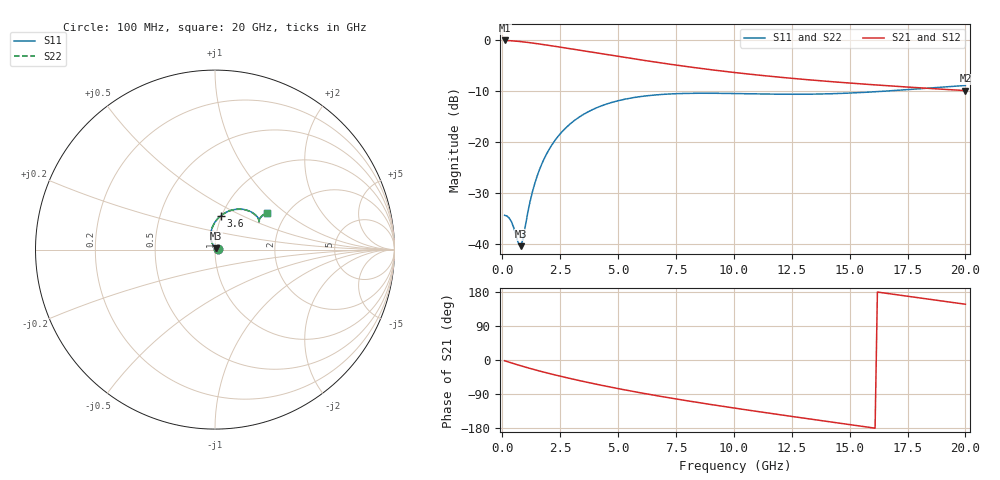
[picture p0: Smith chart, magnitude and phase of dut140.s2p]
! Touchstone file exported from HFSS 2024.1.0
!  File:  C:/UserFiles/LocalFiles/RDL_TSV_Batchsim/temp_RDL_TSV_140_1779429509.aedt
!  Generated:  02:12:34 PM May 22, 2026
!  Design:  RDL_TSV
!  Project:  temp_RDL_TSV_140_1779429509
!  Setup:  Setup1
!  Solution:  Sweep
! Variables:
!  dtsv = 13.42um
!  hbump = 3um
!  htsv = 64.69um
!  ldown = 489.67um
!  lrdl = 398.42um
!  p = 40
!  p1 = 55.69um
!  rhole = 10um
!  subl = 3062.69um
!  t = 450um
!  tdown = 2.31um
!  trdl = 2.8um
!  viad = 10um
!  wdown = 27.31um
!  wrdl = 18.94um
!  xbump = 18um
# GHz S MA R 50.000000
! Terminal data exported
! Port[1] = TM1_1_T1
! Port[2] = TM1_4_T1
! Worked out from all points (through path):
!   200 points, 100 MHz to 20 GHz, reference 50 ohm
!   highest |S21| = -0.17 dB at 100 MHz (marker M1); lowest = -10.0 dB at 20 GHz (marker M2)
!   group delay of S21, straight-line fit = 27.7 ps
!   lowest |S11| = -40.5 dB at 800 MHz (marker M3), VSWR 1.02, Z = 50.5 + j0.831 ohm
!   |S11| at or under -10 dB: start of sweep to 16.88 GHz
!   |S22| runs from -40.5 to -9.0 dB; largest |S21 - S12| = 9.8e-15
!   S11 on the Smith chart (normalised r, x): 100 MHz: 1.04, +0.00; 3.6 GHz: 0.99, +0.39; 20 GHz: 1.61, +0.75
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0.1  0.01898 2.4  0.9803 -2.0  0.9803 -2.0  0.01898 2.4
! Gamma 0 0 0 0
! Port Impedance 50 0 50 0
0.3  0.01785 5.3  0.976 -5.9  0.976 -5.9  0.01785 5.3
0.4  0.01633 7.4  0.9728 -7.8  0.9728 -7.8  0.01633 7.4
0.7  0.009979 35.9  0.9602 -13.4  0.9602 -13.4  0.009996 35.8
0.8  0.009462 60.5  0.9552 -15.3  0.9552 -15.3  0.009469 60.2
0.9  0.0113 84.5  0.9498 -17.1  0.9498 -17.1  0.01129 84.2
1.1  0.02013 107.7  0.9381 -20.6  0.9381 -20.6  0.02008 107.5
1.3  0.03214 113.3  0.9255 -24.0  0.9255 -24.0  0.03204 113.2
1.5  0.04564 113.4  0.9122 -27.3  0.9122 -27.3  0.04552 113.3
1.8  0.06736 110.0  0.8917 -32.1  0.8917 -32.1  0.06718 110.0
2.1  0.08975 105.2  0.8709 -36.8  0.8709 -36.8  0.08951 105.2
2.5  0.1192 98.3  0.8433 -42.7  0.8433 -42.7  0.1189 98.2
3  0.1538 89.8  0.8096 -49.8  0.8096 -49.8  0.1534 89.8
3.5  0.1846 82.1  0.7769 -56.6  0.7769 -56.6  0.1841 82.0
3.6  0.1903 80.6  0.7705 -57.9  0.7705 -57.9  0.1898 80.5
5  0.2516 63.0  0.6857 -75.4  0.6857 -75.4  0.2508 63.0
6.8  0.2891 47.5  0.5931 -95.5  0.5931 -95.5  0.288 47.5
8.4  0.2979 38.9  0.5278 -111.6  0.5278 -111.6  0.2967 38.9
10.1  0.2959 33.9  0.4736 -127.6  0.4736 -127.6  0.2945 33.9
13.4  0.2921 32.7  0.4006 -156.7  0.4006 -156.7  0.2906 32.8
16.7  0.3143 35.3  0.3522 175.0  0.3522 175.0  0.313 35.4
20  0.3551 35.0  0.3165 147.2  0.3165 147.2  0.3542 35.2
